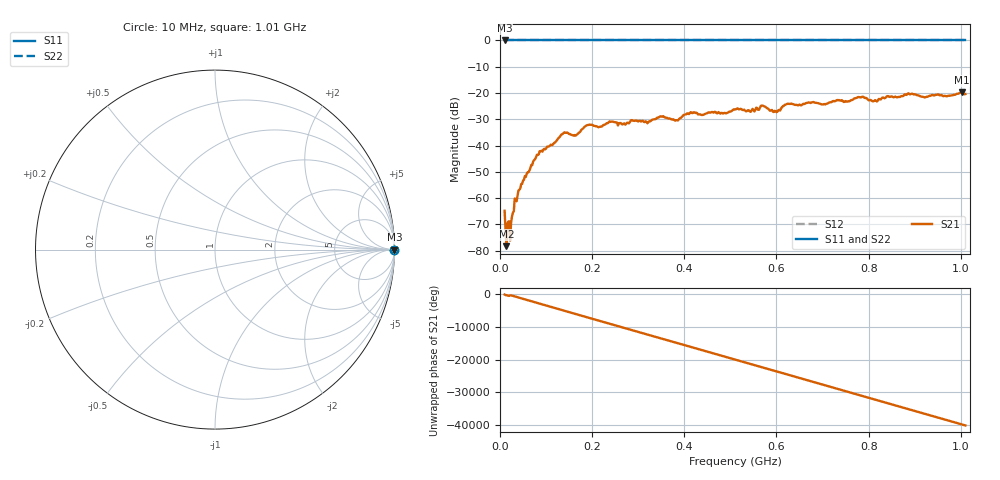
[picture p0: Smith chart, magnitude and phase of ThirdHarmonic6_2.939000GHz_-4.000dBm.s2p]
! 8/17/2025 8:13:46 AM
! C:\ANRITSUVNA\TEMP\TEMP.S2P
! CHANNEL.1
! TR.MEASUREMENT
! RAW.DATA
! RF.CORRECTION.OFF
! AVERAGING.OFF
! IF.BANDWIDTH: 5KHZ
! SWEEPTYPE:  FREQ.SWEEP(Linear)
! Reference Plane Port Info
! PORT:  PORT1  PORT2
! DISTANCE:  0  m  0  m
! TIME:  0  s  0  s
! PHASE.OFFSET:  0  deg.  0  deg.
! LOSS:  0  dB  0  dB
! REF.LOSS:  0  dB  0  dB
! REF.FREQ:  0  Hz  0  Hz
! Power Info
! POWER:  -20  dBm  -20  dBm
! EFF.POWER:  -20  dBm  -20  dBm
! SOURCE.ATTEN:  0  dB  0  dB
! TEST.ATTEN:  0  dB  0  dB
# GHZ S RI R 50.0
! FREQ.GHZ  S11RE  S11IM  S21RE  S21IM  S12RE  S12IM  S22RE  S22IM
!; PortSelection: Port_12
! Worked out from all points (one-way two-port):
!   501 points, 10 MHz to 1.01 GHz, reference 50 ohm
!   highest |S21| = -19.75 dB at 1.002 GHz (marker M1); lowest = -78.2 dB at 14 MHz (marker M2)
!   lowest |S11| = 0.0 dB at 10 MHz (marker M3)
!   |S11| at or under -10 dB: nowhere
!   |S22| runs from 0.0 to 0.0 dB; largest |S21 - S12| = 1.1
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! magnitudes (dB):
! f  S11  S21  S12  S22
! 10 MHz  0.0  -64.8  0.0  0.0
! 14 MHz  0.0  -78.2  0.0  0.0
! 18 MHz  0.0  -68.9  0.0  0.0
! 36 MHz  0.0  -61.2  0.0  0.0
! 44 MHz  0.0  -56.3  0.0  0.0
! 84 MHz  0.0  -43.4  0.0  0.0
! 136 MHz  0.0  -35.6  0.0  0.0
! 162 MHz  0.0  -36.0  0.0  0.0
! 178 MHz  0.0  -33.8  0.0  0.0
! 192 MHz  0.0  -32.1  0.0  0.0
! 322 MHz  0.0  -31.1  0.0  0.0
! 344 MHz  0.0  -29.3  0.0  0.0
! 384 MHz  0.0  -30.3  0.0  0.0
! 410 MHz  0.0  -28.0  0.0  0.0
! 510 MHz  0.0  -26.3  0.0  0.0
! 570 MHz  0.0  -24.8  0.0  0.0
! 598 MHz  0.0  -26.9  0.0  0.0
! 622 MHz  0.0  -24.2  0.0  0.0
! 678 MHz  0.0  -23.5  0.0  0.0
! 844 MHz  0.0  -21.4  0.0  0.0
! 1.002 GHz  0.0  -19.8  0.0  0.0
! 1.01 GHz  0.0  -20.4  0.0  0.0
